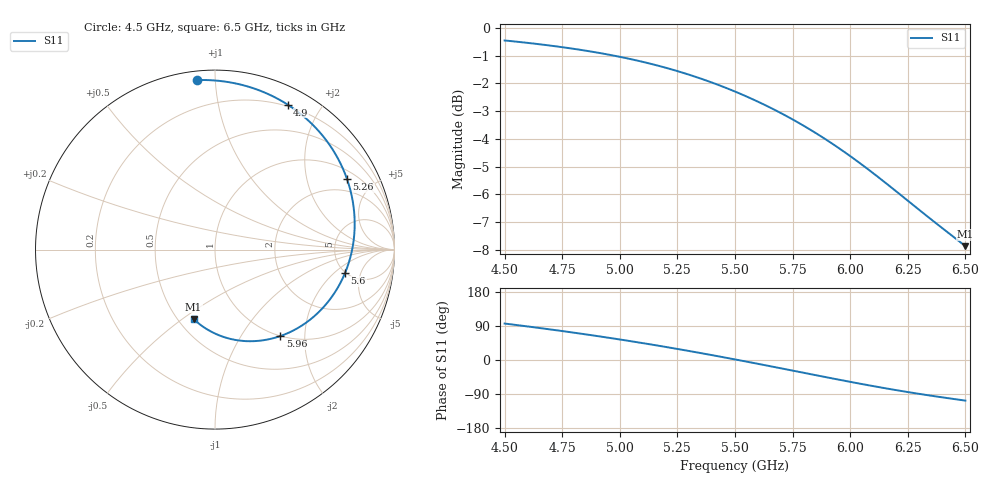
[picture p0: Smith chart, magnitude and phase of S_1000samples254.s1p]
! TOUCHSTONE file generated by CST MICROWAVE STUDIO
! Date and time: Thu Oct 27 13:04:04 2022
! Project name: L.cst
! Parameters = {Di=1.27; Epsilon_r=1.56; InnerDiameter=1.27; Length=2; Lf=10; Lg=60; OuterConductorThickness=0.2921; OuterDiameter=3.6; Wf=3; Wp=41.2; de=1.5; df=6.8; g=0.8; gx=4.65648; gy=4.6913; h=2.34; hf=1.524; px=14.5214; py=9.98176; w=9.7; wx=9.86494; wy=5.29046}
! Header version: 2018
! Port assignment regex: !\s*Touchstone port\s*([0-9]+)\s*=\s*(CST MWS port|CST DS port)\s*([0-9]+|Zmin|Zmax)\s*\(\"(.*)\"\)(\s*mode\s*([0-9]+))?.*
! Touchstone port assignment:
! Touchstone port 1 = CST MWS port 1 ("")
# GHz S DB R 50
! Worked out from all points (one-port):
!   101 points, 4.5 GHz to 6.5 GHz, reference 50 ohm
!   lowest |S11| = -7.9 dB at 6.5 GHz (marker M1), VSWR 2.36, Z = 29.8 - j27.5 ohm
!   |S11| at or under -10 dB: nowhere
!   S11 on the Smith chart (normalised r, x): 4.5 GHz: 0.05, +0.90; 4.9 GHz: 0.18, +1.61; 5.26 GHz: 1.36, +3.50; 5.6 GHz: 4.95, -2.80; 5.96 GHz: 1.00, -1.51; 6.5 GHz: 0.60, -0.55
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4.5  -0.45 96.2
4.58  -0.52 90.1
4.64  -0.57 85.4
4.76  -0.70 75.5
4.84  -0.80 68.7
4.9  -0.88 63.4
5  -1.04 54.2
5.06  -1.14 48.4
5.14  -1.30 40.5
5.2  -1.43 34.4
5.26  -1.58 28.1
5.32  -1.74 21.7
5.38  -1.91 15.1
5.44  -2.09 8.4
5.5  -2.29 1.5
5.6  -2.66 -10.1
5.68  -2.98 -19.6
5.76  -3.34 -29.2
5.86  -3.84 -41.1
5.92  -4.16 -48.3
5.96  -4.38 -53.0
6  -4.62 -57.6
6.06  -4.98 -64.5
6.12  -5.37 -71.1
6.18  -5.76 -77.5
6.26  -6.29 -85.6
6.38  -7.09 -96.8
6.5  -7.87 -107.2
